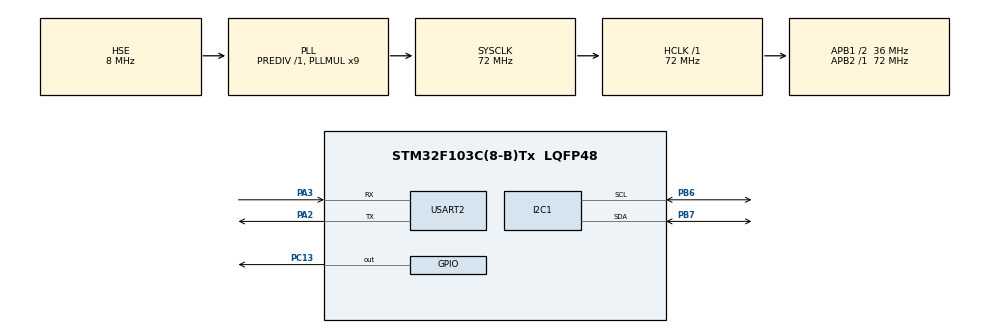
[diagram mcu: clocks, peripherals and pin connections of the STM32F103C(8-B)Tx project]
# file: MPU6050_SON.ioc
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I2C1.I2C_Mode=I2C_Fast
Mcu.Family=STM32F1
Mcu.Name=STM32F103C(8-B)Tx
Mcu.Package=LQFP48
NVIC.PriorityGroup=NVIC_PRIORITYGROUP_4
PA13.Mode=Serial_Wire
PA13.Signal=SYS_JTMS-SWDIO
PA14.Mode=Serial_Wire
PA14.Signal=SYS_JTCK-SWCLK
PA2.Mode=Asynchronous
PA2.Signal=USART2_TX
PA3.Mode=Asynchronous
PA3.Signal=USART2_RX
PB6.Mode=I2C
PB6.Signal=I2C1_SCL
PB7.Mode=I2C
PB7.Signal=I2C1_SDA
PC13-TAMPER-RTC.Signal=GPIO_Output
PC14-OSC32_IN.Mode=LSE-External-Oscillator
PC14-OSC32_IN.Signal=RCC_OSC32_IN
PC15-OSC32_OUT.Mode=LSE-External-Oscillator
PC15-OSC32_OUT.Signal=RCC_OSC32_OUT
PD0-OSC_IN.Mode=HSE-External-Oscillator
PD0-OSC_IN.Signal=RCC_OSC_IN
PD1-OSC_OUT.Mode=HSE-External-Oscillator
PD1-OSC_OUT.Signal=RCC_OSC_OUT
ProjectManager.HeapSize=0x200
ProjectManager.StackSize=0x400
ProjectManager.TargetToolchain=STM32CubeIDE
RCC.AHBFreq_Value=72000000
RCC.APB1CLKDivider=RCC_HCLK_DIV2
RCC.APB1Freq_Value=36000000
RCC.APB1TimFreq_Value=72000000
RCC.APB2Freq_Value=72000000
RCC.APB2TimFreq_Value=72000000
RCC.HCLKFreq_Value=72000000
RCC.PLLMUL=RCC_PLL_MUL9
RCC.PLLSourceVirtual=RCC_PLLSOURCE_HSE
RCC.SYSCLKFreq_VALUE=72000000
RCC.SYSCLKSource=RCC_SYSCLKSOURCE_PLLCLK
RCC.USBFreq_Value=72000000
RTC.Date=12
RTC.Hours=21
RTC.Minutes=25
RTC.Month=RTC_MONTH_MAY
RTC.WeekDay=RTC_WEEKDAY_THURSDAY
RTC.Year=21
USART2.VirtualMode=VM_ASYNC
VP_RTC_VS_RTC_Activate.Mode=RTC_Enabled
VP_RTC_VS_RTC_Calendar.Mode=RTC_Calendar
board=custom

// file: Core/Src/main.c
/* USER CODE BEGIN Header */
/**
  ******************************************************************************
  * @file           : main.c
  * @brief          : Main program body
  ******************************************************************************
  * @attention
  *
  * Copyright (c) 2021 STMicroelectronics.
  * All rights reserved.
  *
  * This software is licensed under terms that can be found in the LICENSE file
  * in the root directory of this software component.
  * If no LICENSE file comes with this software, it is provided AS-IS.
  *
  ******************************************************************************
  */
/* USER CODE END Header */
#include "main.h"

/* USER CODE BEGIN Includes */

#include <stdio.h>
#include <string.h>
#include <stdlib.h>
#include <math.h>
#include <stdbool.h>

/* USER CODE END Includes */

/* USER CODE BEGIN PD */

#define MPU6050_ADDR 0x68<<1
#define PWR_MGMT_1_REG 0x6B
#define GYRO_CNFG_REG 0x1B
#define ACC_CNFG_REG 0x1C
#define LPF_REG 0x1A

/* USER CODE END PD */

I2C_HandleTypeDef hi2c1;

RTC_HandleTypeDef hrtc;

UART_HandleTypeDef huart2;

/* USER CODE BEGIN PV */

/**MPU6050 VERILERI**/
uint8_t data;
uint8_t temp_buffer[2],acc_buffer[6],gyro_buffer[6]; // ham gyro ve acc değerlerinin tutulduğu listeler
int16_t gyro_raw[3],acc_raw[3];        // anlamlandırılmış ham değerler
float gyro_cal[3],acc_cal[3]; // kalibrasyon offsetlerini tutan liste
int16_t acc_total_vector;
float angle_pitch_gyro, angle_roll_gyro, angle_yaw_gyro;
float angle_pitch_acc, angle_roll_acc,angle_yaw_acc, angle_pitch_acc_sum, angle_roll_acc_sum,acc_total_vector_sum;
float angle_pitch,angle_roll;
int16_t raw_temp;
int temp;
int i;
float prevtime,prevtime1,time1,elapsedtime1,prevtime2,time2,elapsedtime2;
HAL_StatusTypeDef set_gyro;

/**RTC VERILERI**/
char line1[32], line2[32];
  RTC_TimeTypeDef sTime;
  RTC_DateTypeDef DateToUpdate;
  uint16_t gun,ay,yil;
  uint16_t saat,dakika,saniye;

  /**ESP8266 VERILERI**/
  char txdata[150];
  char rxdata[150];
  char txdata1[31];
  char txdata2[29];
  char txdata3[32];
  char txdata4[35];

/* USER CODE END PV */

void SystemClock_Config(void);
static void MX_GPIO_Init(void);
static void MX_I2C1_Init(void);
static void MX_RTC_Init(void);
static void MX_USART2_UART_Init(void);

int main(void)
{

  /* MCU Configuration--------------------------------------------------------*/

  /* Reset of all peripherals, Initializes the Flash interface and the Systick. */
  HAL_Init();

  /* Configure the system clock */
  SystemClock_Config();

  /* Initialize all configured peripherals */
  MX_GPIO_Init();
  MX_I2C1_Init();
  MX_RTC_Init();
  MX_USART2_UART_Init();
  /* USER CODE BEGIN 2 */

       /*****************************************MPU6050 GYRO+ACC SENSOR***********************************************************/
  // PWR_MGMT_1 CNFG ----> GUC AYARLAMASI YAPILIR
      data = 0x00;
      HAL_I2C_Mem_Write (&hi2c1, MPU6050_ADDR, PWR_MGMT_1_REG, 1, &data, 1, HAL_MAX_DELAY);
      //kullanılan birimin pointer olarak döndürülmesi, cihaz slave adresi, register adresi, register boyutu, verinin pointer
      //olarak döndürülmesi, verinin boyutu , zaman aşımıı değeri

      // GYRO CNFG --> +-500 derece/saniye --> 08 (AÇISAL HIZ AYARLAMASI YAPILIR)
      data = 0x08;
      HAL_I2C_Mem_Write (&hi2c1, MPU6050_ADDR, GYRO_CNFG_REG, 1, &data, 1, HAL_MAX_DELAY);

      // ACC CNFG --> +-8g --> 10 (IVMENIN HIZLANMA AYARLAMASI YAPILIR)
      data = 0x10;
      HAL_I2C_Mem_Write (&hi2c1, MPU6050_ADDR, ACC_CNFG_REG, 1, &data, 1, HAL_MAX_DELAY);

     // DLPF_CFG---> ALCAK GECIREN FILTRE AYARLAMASI YAPILIR
      data = 0x03;
      HAL_I2C_Mem_Write (&hi2c1, MPU6050_ADDR, LPF_REG, 1, &data, 1, HAL_MAX_DELAY);

/* Offset islemi yapılarak daha temiz veriler alinir. Ortalama Metodu ile veriler for dongusune sokulur,
  degerler toplanır ardından ornek sayısına bolunerek ortalaması alınır.*/
      for(i=0; i<2000; i++)
      {

// prevtime ile her while dongusune girdigimizde islemde gecen sureyi gormemizi saglar//
    	  prevtime2 = time2;
    	  time2 = HAL_GetTick();
    	  elapsedtime2=(time2-prevtime2)*1000;

    	  gyro_buffer[0]=0x43; //GYRO OUTPUT REGISTER BASLANGIC ADRESI[0x43-0x48]//
    	  HAL_I2C_Master_Transmit(&hi2c1,MPU6050_ADDR,gyro_buffer,1,HAL_MAX_DELAY);
    	  HAL_I2C_Master_Receive(&hi2c1,MPU6050_ADDR,gyro_buffer,6,HAL_MAX_DELAY);

// 8 bitlik sola kaydırma islemi yapılarak 16 bitlik degiskenle alanı kaplaması engellenir.//
// OR mantıksal operatoru ile de sonra gelecek verinin sagdaki bitte tutulmasını saglayıp  soldaki verinin gitmesini engellemis olur//
// 0x43 baslangıc registeri boylelikle [15:8] indexleri arasında degil [7:0] indexleri arası verileri yazmaya baslamıs olur//
    	  gyro_raw[0] = (gyro_buffer[0] << 8 | gyro_buffer[1]);
    	  gyro_raw[1] = (gyro_buffer[2] << 8 | gyro_buffer[3]);
    	  gyro_raw[2] = (gyro_buffer[4] << 8 | gyro_buffer[5]);

    	  // gyro_raw ile toplanmıs verileri gyro_cal dizisine gonderirilir.//
    	  gyro_cal[0] += gyro_raw[0];
    	  gyro_cal[1] += gyro_raw[1];
    	  gyro_cal[2] += gyro_raw[2];

    	  HAL_Delay(3); // olcum aralıgı 4ms olarak belirlenip ustteki kod 1ms'de calıstıgı icin 3ms gecikme eklenir//

      }
// toplanmıs verilerin ortalama degeri alınır//
      gyro_cal[0] /= 2000;
      gyro_cal[1] /= 2000;
      gyro_cal[2] /= 2000;

      HAL_Delay(1000);
      /*****************************************MPU6050 GYRO+ACC SENSOR***********************************************************

  /* USER CODE END 2 */

  /* Infinite loop */
  while (1)
  {

    /* USER CODE BEGIN 3 */

	  /*****************************************MPU6050 GYRO+ACC SENSOR***********************************************************/

	  // ustte gecmesı gereken 4ms'nin gecip gecmedigini anlamak icin kullanılır//
	  prevtime1 = time1;
	  time1 = HAL_GetTick();
	  elapsedtime1=(time1-prevtime1)*1000;

	 	 	  acc_buffer[0]=0x3B; //ACC OUTPUT REGISTER BASLANGIC ADRESI[0x3B-0x40]
	 	 	  HAL_I2C_Master_Transmit(&hi2c1,MPU6050_ADDR,acc_buffer,1,HAL_MAX_DELAY);
	 	 	  HAL_I2C_Master_Receive(&hi2c1,MPU6050_ADDR,acc_buffer,6,HAL_MAX_DELAY);

	 	 	  // Acc Raw(ham) degerler)
	 	 	  acc_raw[0] = (acc_buffer[0] << 8 | acc_buffer[1]);
	 	 	  acc_raw[1] = (acc_buffer[2] << 8 | acc_buffer[3]);
	 	 	  acc_raw[2] = (acc_buffer[4] << 8 | acc_buffer[5]);

	 	 	  temp_buffer[0]=0x41;// TEMP OUTPUT REGISTER BASLANGIC ADRESI[0x41-0x42]//
	 	 	  HAL_I2C_Master_Transmit(&hi2c1,MPU6050_ADDR,temp_buffer,1,HAL_MAX_DELAY);
	 	 	  HAL_I2C_Master_Receive(&hi2c1,MPU6050_ADDR,temp_buffer,2,HAL_MAX_DELAY);

	 	 	  // Temperature Values
	 	 	  raw_temp = (temp_buffer[0] << 8 | temp_buffer[1]);
	 	 	  temp = (raw_temp / 340.0) + 32.53;
	 	 	  //formul +36.53 gostermekte fakat 32.53'te daha iyi degerler elde edildi//

	 	 	  gyro_buffer[0]=0x43;
	 	 	  HAL_I2C_Master_Transmit(&hi2c1,MPU6050_ADDR,gyro_buffer,1,HAL_MAX_DELAY);
	 	 	  HAL_I2C_Master_Receive(&hi2c1,MPU6050_ADDR,gyro_buffer,6,HAL_MAX_DELAY);

	 	 	  // Gyro Raw Values GYRO OUTPUT
	 	 	  gyro_raw[0] = (gyro_buffer[0] << 8 | gyro_buffer[1]);
	 	 	  gyro_raw[1] = (gyro_buffer[2] << 8 | gyro_buffer[3]);
	 	 	  gyro_raw[2] = (gyro_buffer[4] << 8 | gyro_buffer[5]);

	 	 	  //Olculen veri kalibre veriden çıkarılacak raw(ham) veriden daha duzgun deger alınması saglanır//
	 	 	  gyro_raw[0] -= gyro_cal[0];
	 	 	  gyro_raw[1] -= gyro_cal[1];
	 	 	  gyro_raw[2] -= gyro_cal[2];

              // gyro integral islemine tabi tutulur, elde edilen degerle carpılır.
	 	 	  //0.00006154 = (1/65.5)*0.004
	 	 	  angle_roll_gyro += gyro_raw[0] * 0.00006154; // roll---> X Ekseni
	 	 	  angle_pitch_gyro += gyro_raw[1] * 0.00006154; // pitch--> Y ekseni
	 	 	  angle_yaw_gyro += gyro_raw[2] * 0.00006154; // yaw--> z ekseni

	 	 	  //Radyan Dereceye cevrilir Derece= 180/3.14 = 57.296 ---> 0.000001066 = (0.00006154/57.296)
	 	 	  // z ekseni ham verisi ile x ve y ekseni hesaplamaları yapılır//
	 //eksenler birbiri üzerinde arttırıcı/azaltıcı etkende oldukları için birbirlerinden toplanır/cıkarılır
	 	 	  angle_pitch_gyro += angle_roll_gyro * sin(gyro_raw[2] * 0.000001066);
	 	 	  angle_roll_gyro -= angle_pitch_gyro * sin(gyro_raw[2] * 0.000001066);

              // acctotal=√x^2+y^2+z^2
	 	 	  acc_total_vector = sqrt((acc_raw[0]*acc_raw[0])+(acc_raw[1]*acc_raw[1])+(acc_raw[2]*acc_raw[2]));

	 	 	  // Radyan Dereceye cevrilir Derece= 180/3.14 = 57.296  57.296 = 1 / (3.14 / 180)
	 	 	  //angle_roll=arcsin(x/acctotal)
	 	 	  angle_roll_acc = asin((float)acc_raw[0]/acc_total_vector)* -57.296; // x ekseni

	 	 	  //angle_pitch=arcsin(y/acctotal)
	 	 	  angle_pitch_acc = asin((float)acc_raw[1]/acc_total_vector)* 57.296; // y ekseni

	 	 	  //angle_yaw=arcsin(z/acctotal)
	 	 	  angle_yaw_acc = asin((float)acc_raw[2]/acc_total_vector)* 57.296; // z ekseni

	 	 	  if(set_gyro){
	 	 		  //LPF VE HPF Filtre islemleri gerceklestirilir.
	 	 		  // Gyro HPF, acc LPF filteden gectigi icin bu degerler kullanılmıstır
	 	 		  angle_roll = angle_roll_gyro * 0.9996 + angle_roll_acc * 0.0004;
	 	 		  angle_pitch = angle_pitch_gyro * 0.9996 + angle_pitch_acc * 0.0004;

	 	 		}
	 	 	  else
	 	 	  {
	 	 		  angle_pitch = angle_pitch_acc;
	 	 		  set_gyro = true;
	 	 		}

	 	 	  //dongunun 4ms surmesi icin  yazılmıstır
	 	 	  while((HAL_GetTick() - prevtime)*1000 < 4000);
	 	 	  prevtime = HAL_GetTick();
	 	 	  /*****************************************MPU6050 GYRO+ACC SENSOR***********************************************************/

	 	 	          /****************************************RTC******************************************/
	 	 	      HAL_RTC_GetTime(&hrtc , &sTime , RTC_FORMAT_BIN);
	 	 		  HAL_RTC_GetDate(&hrtc , &DateToUpdate , RTC_FORMAT_BIN);

	 	 		  saat = sTime.Hours;
	 	 		  dakika = sTime.Minutes;
	 	 		  saniye = sTime.Seconds;

	 	 		  gun = DateToUpdate.Date;
	 	 		  ay = DateToUpdate.Month;
	 	 		  yil = DateToUpdate.Year;

	 	 		  sprintf(line1, "%d:%d:%d",saat,dakika,saniye);
	 	 		  sprintf(line2, "%d:%d:%d",gun,ay,yil);

	 	 		  HAL_Delay(250);
	 	 		/****************************************RTC******************************************/

       /************************************************ESP8266******************************************************/

/*
	 	 	HAL_UART_Transmit(&huart2, (uint8_t*) "AT\r\n", 100, 100);
	 	 	HAL_UART_Receive(&huart2, (uint8_t*) rxdata, sizeof(rxdata), 100);
	 	 	HAL_Delay(100);

	 	 	HAL_UART_Transmit(&huart2, (uint8_t*) "AT+CWMODE=1\r\n", 100, 100);
	 	 	HAL_UART_Receive(&huart2, (uint8_t*) rxdata, sizeof(rxdata), 100);
	 	 	HAL_Delay(100);

	 	 	HAL_UART_Transmit(&huart2, (uint8_t*) "AT+CIFSR\r\n", 100, 100);
	 	 	HAL_UART_Receive(&huart2, (uint8_t*) rxdata, sizeof(rxdata), 100);
	 	 	HAL_Delay(100); */

	 	 	HAL_UART_Transmit(&huart2, (uint8_t*) "AT+CIPMUX=1\r\n", 100, 100);
	 	 	HAL_UART_Receive(&huart2, (uint8_t*) rxdata, sizeof(rxdata), 100);
	 	 	HAL_Delay(400);

	 	 	HAL_UART_Transmit(&huart2, (uint8_t*) "AT+CIPSERVER=1,80\r\n", 100, 100);
	 	 	HAL_UART_Receive(&huart2, (uint8_t*) rxdata, sizeof(rxdata), 100);
	 	 	HAL_Delay(400);

	 	 	HAL_UART_Transmit(&huart2, (uint8_t*) "AT+CIPSEND=0,31\r\n", 100, 100);
	 	    HAL_UART_Receive(&huart2, (uint8_t*) rxdata, sizeof(rxdata), 100);
	 	 	HAL_Delay(400);
	 	 	sprintf(txdata1,"saat=%3d,dk=%3d,sn=%3d,temp=%3d",saat,dakika,saniye,temp);
	 	 	HAL_UART_Transmit(&huart2, (uint8_t*) txdata1, 100, 100);
	 	 	HAL_UART_Receive(&huart2, (uint8_t*) rxdata, sizeof(rxdata), 100);
	 	 	HAL_Delay(800);

	 	 	HAL_UART_Transmit(&huart2, (uint8_t*) "AT+CIPSEND=0,29\r\n", 100, 100);
	 	 	HAL_UART_Receive(&huart2, (uint8_t*) rxdata, sizeof(rxdata), 100);
	 	 	HAL_Delay(400);
	 	 	sprintf(txdata2,"accX=%3d,accY=%3d,accZ=%3d\r\n",acc_raw[0],acc_raw[1],acc_raw[2]);
	 	 	HAL_UART_Transmit(&huart2, (uint8_t*) txdata2, 100, 100);
	 	 	HAL_UART_Receive(&huart2, (uint8_t*) rxdata, sizeof(rxdata), 100);
	 	 	HAL_Delay(800);

	 		HAL_UART_Transmit(&huart2, (uint8_t*) "AT+CIPSEND=0,32\r\n", 100, 100);
	 		HAL_UART_Receive(&huart2, (uint8_t*) rxdata, sizeof(rxdata), 100);
	 		HAL_Delay(400);
	 		sprintf(txdata3,"gyroX=%3d,gyroY=%3d,gyroZ=%3d\r\n",gyro_raw[0],gyro_raw[1],gyro_raw[2]);
	 		HAL_UART_Transmit(&huart2, (uint8_t*) txdata3, 100, 100);
	 		HAL_UART_Receive(&huart2, (uint8_t*) rxdata, sizeof(rxdata), 100);
	 		HAL_Delay(800);

	 	  /*  HAL_UART_Transmit(&huart2, (uint8_t*) "AT+CIPSEND=0,35\r\n", 100, 100);
	 		HAL_UART_Receive(&huart2, (uint8_t*) rxdata, sizeof(rxdata), 100);
	 		HAL_Delay(400);
	 	    sprintf(txdata4,"angleX=%3d,angleY=%3d\r\n",angle_roll,angle_pitch);
	 		HAL_UART_Transmit(&huart2, (uint8_t*) txdata4, 100, 100);
	 		HAL_UART_Receive(&huart2, (uint8_t*) rxdata, sizeof(rxdata), 100);
	 		HAL_Delay(800); */

	 /************************************************ESP8266******************************************************/

  }

  /* USER CODE END 3 */
}

void SystemClock_Config(void)
{
  RCC_OscInitTypeDef RCC_OscInitStruct = {0};
  RCC_ClkInitTypeDef RCC_ClkInitStruct = {0};
  RCC_PeriphCLKInitTypeDef PeriphClkInit = {0};

  /** Initializes the RCC Oscillators according to the specified parameters
  * in the RCC_OscInitTypeDef structure.
  */
  RCC_OscInitStruct.OscillatorType = RCC_OSCILLATORTYPE_LSI|RCC_OSCILLATORTYPE_HSE;
  RCC_OscInitStruct.HSEState = RCC_HSE_ON;
  RCC_OscInitStruct.HSEPredivValue = RCC_HSE_PREDIV_DIV1;
  RCC_OscInitStruct.HSIState = RCC_HSI_ON;
  RCC_OscInitStruct.LSIState = RCC_LSI_ON;
  RCC_OscInitStruct.PLL.PLLState = RCC_PLL_ON;
  RCC_OscInitStruct.PLL.PLLSource = RCC_PLLSOURCE_HSE;
  RCC_OscInitStruct.PLL.PLLMUL = RCC_PLL_MUL9;
  if (HAL_RCC_OscConfig(&RCC_OscInitStruct) != HAL_OK)
  {
    Error_Handler();
  }
  /** Initializes the CPU, AHB and APB buses clocks
  */
  RCC_ClkInitStruct.ClockType = RCC_CLOCKTYPE_HCLK|RCC_CLOCKTYPE_SYSCLK
                              |RCC_CLOCKTYPE_PCLK1|RCC_CLOCKTYPE_PCLK2;
  RCC_ClkInitStruct.SYSCLKSource = RCC_SYSCLKSOURCE_PLLCLK;
  RCC_ClkInitStruct.AHBCLKDivider = RCC_SYSCLK_DIV1;
  RCC_ClkInitStruct.APB1CLKDivider = RCC_HCLK_DIV2;
  RCC_ClkInitStruct.APB2CLKDivider = RCC_HCLK_DIV1;

  if (HAL_RCC_ClockConfig(&RCC_ClkInitStruct, FLASH_LATENCY_2) != HAL_OK)
  {
    Error_Handler();
  }
  PeriphClkInit.PeriphClockSelection = RCC_PERIPHCLK_RTC;
  PeriphClkInit.RTCClockSelection = RCC_RTCCLKSOURCE_LSI;
  if (HAL_RCCEx_PeriphCLKConfig(&PeriphClkInit) != HAL_OK)
  {
    Error_Handler();
  }
}

static void MX_I2C1_Init(void)
{

  hi2c1.Instance = I2C1;
  hi2c1.Init.ClockSpeed = 400000;
  hi2c1.Init.DutyCycle = I2C_DUTYCYCLE_2;
  hi2c1.Init.OwnAddress1 = 0;
  hi2c1.Init.AddressingMode = I2C_ADDRESSINGMODE_7BIT;
  hi2c1.Init.DualAddressMode = I2C_DUALADDRESS_DISABLE;
  hi2c1.Init.OwnAddress2 = 0;
  hi2c1.Init.GeneralCallMode = I2C_GENERALCALL_DISABLE;
  hi2c1.Init.NoStretchMode = I2C_NOSTRETCH_DISABLE;
  if (HAL_I2C_Init(&hi2c1) != HAL_OK)
  {
    Error_Handler();
  }

}

static void MX_RTC_Init(void)
{

  RTC_TimeTypeDef sTime = {0};
  RTC_DateTypeDef DateToUpdate = {0};

  /** Initialize RTC Only
  */
  hrtc.Instance = RTC;
  hrtc.Init.AsynchPrediv = RTC_AUTO_1_SECOND;
  hrtc.Init.OutPut = RTC_OUTPUTSOURCE_ALARM;
  if (HAL_RTC_Init(&hrtc) != HAL_OK)
  {
    Error_Handler();
  }

  /** Initialize RTC and set the Time and Date
  */
  sTime.Hours = 0x21;
  sTime.Minutes = 0x25;
  sTime.Seconds = 0x0;

  if (HAL_RTC_SetTime(&hrtc, &sTime, RTC_FORMAT_BCD) != HAL_OK)
  {
    Error_Handler();
  }
  DateToUpdate.WeekDay = RTC_WEEKDAY_THURSDAY;
  DateToUpdate.Month = RTC_MONTH_MAY;
  DateToUpdate.Date = 0x12;
  DateToUpdate.Year = 0x21;

  if (HAL_RTC_SetDate(&hrtc, &DateToUpdate, RTC_FORMAT_BCD) != HAL_OK)
  {
    Error_Handler();
  }

}

static void MX_USART2_UART_Init(void)
{

  huart2.Instance = USART2;
  huart2.Init.BaudRate = 115200;
  huart2.Init.WordLength = UART_WORDLENGTH_8B;
  huart2.Init.StopBits = UART_STOPBITS_1;
  huart2.Init.Parity = UART_PARITY_NONE;
  huart2.Init.Mode = UART_MODE_TX_RX;
  huart2.Init.HwFlowCtl = UART_HWCONTROL_NONE;
  huart2.Init.OverSampling = UART_OVERSAMPLING_16;
  if (HAL_UART_Init(&huart2) != HAL_OK)
  {
    Error_Handler();
  }

}

static void MX_GPIO_Init(void)
{
  GPIO_InitTypeDef GPIO_InitStruct = {0};

  /* GPIO Ports Clock Enable */
  __HAL_RCC_GPIOC_CLK_ENABLE();
  __HAL_RCC_GPIOD_CLK_ENABLE();
  __HAL_RCC_GPIOA_CLK_ENABLE();
  __HAL_RCC_GPIOB_CLK_ENABLE();

  /*Configure GPIO pin Output Level */
  HAL_GPIO_WritePin(GPIOC, GPIO_PIN_13, GPIO_PIN_RESET);

  /*Configure GPIO pin : PC13 */
  GPIO_InitStruct.Pin = GPIO_PIN_13;
  GPIO_InitStruct.Mode = GPIO_MODE_OUTPUT_PP;
  GPIO_InitStruct.Pull = GPIO_NOPULL;
  GPIO_InitStruct.Speed = GPIO_SPEED_FREQ_LOW;
  HAL_GPIO_Init(GPIOC, &GPIO_InitStruct);

}

void Error_Handler(void)
{
  __disable_irq();
  while (1)
  {
  }
}
